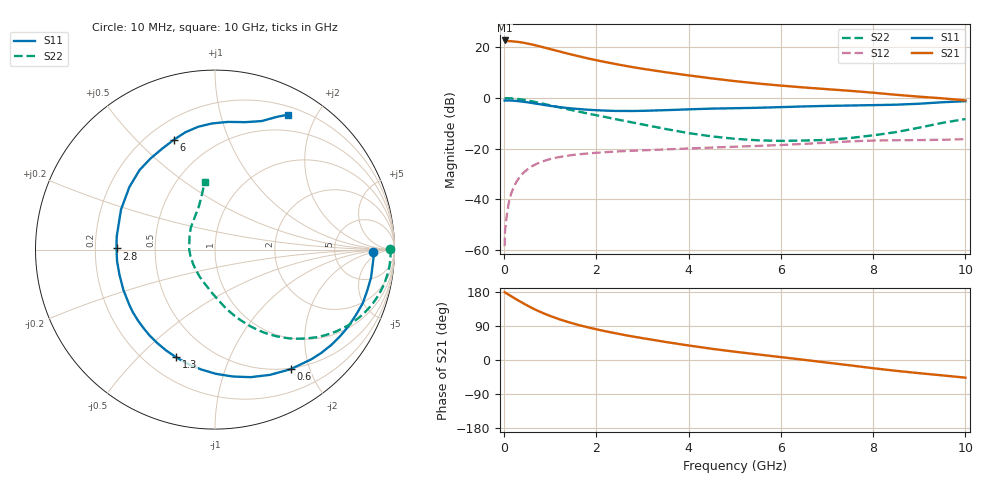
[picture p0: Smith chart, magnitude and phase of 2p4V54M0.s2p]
! (c) 2009  Infineon Technologies AG, Munich
! Infineon Technologies  Discrete & RF Semiconductors
! BFP420
! VCE =  4.5 V,  IC =  4.0 mA
! Common Emitter S-Parameters:  Nov 2009
# GHz  S  MA  R  50
!  f  S11  S21  S12  S22
! GHz  MAG  ANG  MAG  ANG  MAG  ANG  MAG  ANG
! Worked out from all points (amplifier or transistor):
!   46 points, 10 MHz to 10 GHz, reference 50 ohm
!   highest |S21| = 22.5 dB at 10 MHz (marker M1)
!   |S21| within 3 dB of that: start of sweep to 917 MHz
!   unconditionally stable (mu >= 1): start of sweep to 12.42 MHz; 3.268 GHz to end of sweep
!   at 300 MHz: K = 0.14, MSG = 27.1 dB, |S12| = -32.2 dB
!   at 1.7 GHz: K = 0.51, MSG = 19.0 dB, |S12| = -22.1 dB
!   at 10 GHz: K = 1.14, MAG = 5.4 dB, |S12| = -16.3 dB
!   lowest NFmin = 0.61 dB at 900 MHz
!   S11 on the Smith chart (normalised r, x): 10 MHz: 16, -2; 600 MHz: 0.49, -1.71; 1.3 GHz: 0.32, -0.65; 2.8 GHz: 0.29, +0.01; 6 GHz: 0.30, +0.65; 10 GHz: 0.29, +1.64
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0.01  0.8811 -1.0  13.4 179.0  0.0012 12.6  0.9773 0.3
0.02  0.886 -2.2  13 178.4  0.0024 45.6  0.9788 -1.0
0.1  0.8834 -10.0  13.02 172.3  0.0086 75.3  0.9766 -5.4
0.2  0.876 -20.0  12.84 164.9  0.0167 74.5  0.9637 -10.8
0.3  0.8576 -29.9  12.54 157.6  0.0246 70.9  0.9435 -16.0
0.45  0.8257 -44.2  11.92 147.2  0.0354 64.9  0.9017 -23.3
0.6  0.7884 -57.7  11.18 137.5  0.0446 58.8  0.8511 -30.0
0.7  0.7622 -66.3  10.65 131.6  0.0499 55.1  0.815 -34.0
0.9  0.7135 -82.2  9.573 120.9  0.0586 48.7  0.7437 -41.1
1.1  0.6723 -96.6  8.579 111.7  0.0654 43.5  0.6767 -47.2
1.3  0.638 -109.8  7.704 103.5  0.0707 39.0  0.6157 -52.6
1.5  0.6121 -121.7  6.945 96.3  0.075 35.3  0.5614 -57.3
1.7  0.5907 -132.8  6.295 89.7  0.0784 32.2  0.5137 -61.4
2.2  0.5575 -156.4  5.023 75.7  0.085 26.3  0.4157 -70.3
2.8  0.5488 179.3  3.981 61.8  0.0906 21.1  0.3234 -80.5
3.5  0.5691 157.0  3.175 47.6  0.0962 16.7  0.243 -93.7
4.5  0.6108 133.5  2.405 29.6  0.1046 11.7  0.1736 -119.5
5.5  0.6346 117.7  1.905 14.7  0.1127 7.5  0.1452 -148.5
6  0.6537 110.5  1.733 7.6  0.1174 5.7  0.1414 -165.0
7  0.6908 97.8  1.474 -6.9  0.1307 0.7  0.1479 165.5
8.5  0.7299 76.6  1.142 -28.6  0.1456 -11.6  0.2108 122.8
10  0.8558 61.5  0.884 -46.6  0.1526 -19.7  0.3813 98.7
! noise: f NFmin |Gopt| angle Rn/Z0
0.9  0.61  0.27  32  0.16
1.8  1.03  0.14  83  0.13
2.4  1.11  0.17  110  0.14
3  1.23  0.2  153  0.11
4  1.42  0.31  -151  0.11
5  1.77  0.38  -123  0.23
6  2.35  0.47  -104  0.33
